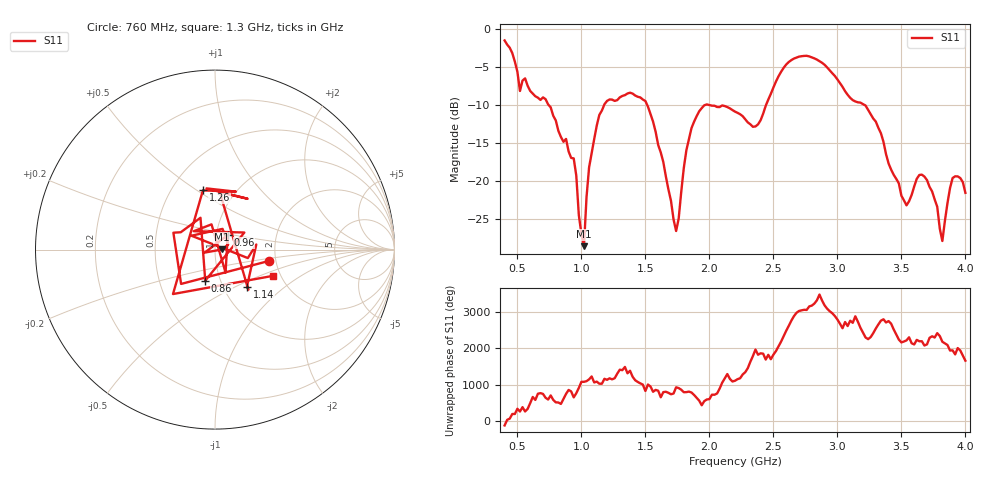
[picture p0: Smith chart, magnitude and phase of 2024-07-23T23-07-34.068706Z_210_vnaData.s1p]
!Created with skrf (http://scikit-rf.org).
# Hz S RI R 50.0
!freq ReS11 ImS11
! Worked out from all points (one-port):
!   181 points, 400 MHz to 4 GHz, reference 50 ohm
!   lowest |S11| = -28.6 dB at 1.02 GHz (marker M1), VSWR 1.08, Z = 53.9 + j0.143 ohm
!   |S11| at or under -10 dB: 1.514 GHz to 1.965 GHz (451.1 MHz wide, 25.9 % of centre); 1.999 GHz to 2.442 GHz (443.2 MHz wide, 20 % of centre); 3.213 GHz to end of sweep (the widest 3 of 4)
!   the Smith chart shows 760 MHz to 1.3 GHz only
!   S11 on the Smith chart (normalised r, x): 760 MHz: 1.83, -0.26; 860 MHz: 0.85, -0.30; 960 MHz: 1.14, +0.19; 1.14 GHz: 1.29, -0.57; 1.26 GHz: 0.71, +0.53; 1.3 GHz: 1.83, -0.61
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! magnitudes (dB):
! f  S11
! 400 MHz  -1.5
! 520 MHz  -8.1
! 760 MHz  -10.3
! 860 MHz  -14.8
! 960 MHz  -19.3
! 980 MHz  -24.5
! 1.02 GHz  -28.6
! 1.06 GHz  -18.2
! 1.14 GHz  -11.3
! 1.26 GHz  -9.5
! 1.3 GHz  -9.0
! 1.5 GHz  -9.5
! 1.74 GHz  -26.6
! 1.76 GHz  -24.9
! 1.82 GHz  -16.0
! 1.92 GHz  -10.8
! 2.2 GHz  -10.9
! 2.38 GHz  -12.5
! 2.66 GHz  -3.9
! 2.88 GHz  -4.4
! 3.1 GHz  -9.0
! 3.3 GHz  -12.2
! 3.56 GHz  -22.7
! 3.68 GHz  -19.4
! 3.78 GHz  -23.4
! 3.82 GHz  -27.9
! 3.9 GHz  -19.6
! 4 GHz  -21.6
